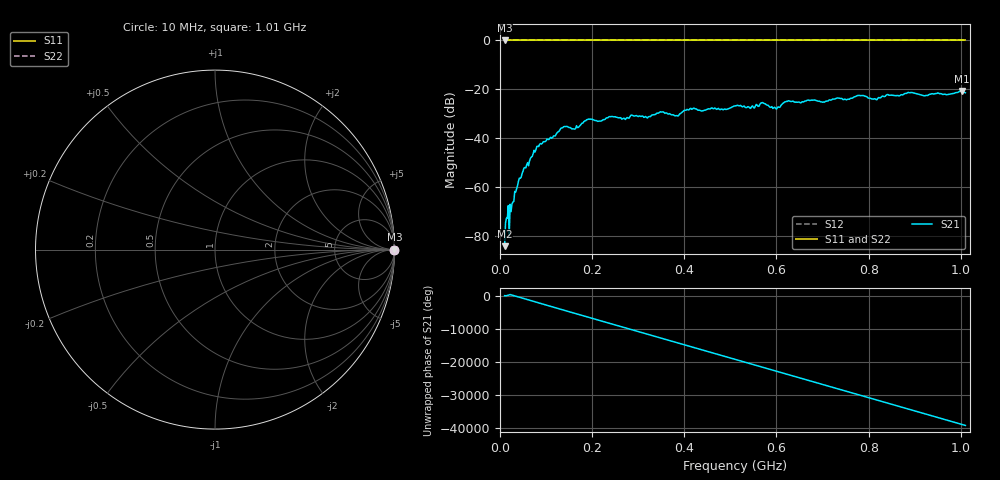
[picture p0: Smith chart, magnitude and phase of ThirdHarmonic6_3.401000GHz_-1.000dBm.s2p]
! 8/17/2025 10:51:53 AM
! C:\ANRITSUVNA\TEMP\TEMP.S2P
! CHANNEL.1
! TR.MEASUREMENT
! RAW.DATA
! RF.CORRECTION.OFF
! AVERAGING.OFF
! IF.BANDWIDTH: 5KHZ
! SWEEPTYPE:  FREQ.SWEEP(Linear)
! Reference Plane Port Info
! PORT:  PORT1  PORT2
! DISTANCE:  0  m  0  m
! TIME:  0  s  0  s
! PHASE.OFFSET:  0  deg.  0  deg.
! LOSS:  0  dB  0  dB
! REF.LOSS:  0  dB  0  dB
! REF.FREQ:  0  Hz  0  Hz
! Power Info
! POWER:  -20  dBm  -20  dBm
! EFF.POWER:  -20  dBm  -20  dBm
! SOURCE.ATTEN:  0  dB  0  dB
! TEST.ATTEN:  0  dB  0  dB
# GHZ S RI R 50.0
! FREQ.GHZ  S11RE  S11IM  S21RE  S21IM  S12RE  S12IM  S22RE  S22IM
!; PortSelection: Port_12
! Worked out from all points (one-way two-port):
!   501 points, 10 MHz to 1.01 GHz, reference 50 ohm
!   highest |S21| = -20.70 dB at 1.002 GHz (marker M1); lowest = -84.1 dB at 10 MHz (marker M2)
!   lowest |S11| = 0.0 dB at 10 MHz (marker M3)
!   |S11| at or under -10 dB: nowhere
!   |S22| runs from 0.0 to 0.0 dB; largest |S21 - S12| = 1.1
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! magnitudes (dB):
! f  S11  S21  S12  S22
! 10 MHz  0.0  -84.1  0.0  0.0
! 14 MHz  0.0  -72.6  0.0  0.0
! 24 MHz  0.0  -70.0  0.0  0.0
! 26 MHz  0.0  -66.8  0.0  0.0
! 44 MHz  0.0  -56.4  0.0  0.0
! 78 MHz  0.0  -44.6  0.0  0.0
! 136 MHz  0.0  -35.7  0.0  0.0
! 160 MHz  0.0  -36.2  0.0  0.0
! 178 MHz  0.0  -33.8  0.0  0.0
! 344 MHz  0.0  -29.7  0.0  0.0
! 384 MHz  0.0  -30.7  0.0  0.0
! 416 MHz  0.0  -28.1  0.0  0.0
! 510 MHz  0.0  -26.8  0.0  0.0
! 570 MHz  0.0  -25.4  0.0  0.0
! 596 MHz  0.0  -27.3  0.0  0.0
! 622 MHz  0.0  -24.9  0.0  0.0
! 678 MHz  0.0  -24.4  0.0  0.0
! 780 MHz  0.0  -22.5  0.0  0.0
! 814 MHz  0.0  -23.9  0.0  0.0
! 844 MHz  0.0  -22.4  0.0  0.0
! 1.002 GHz  0.0  -20.7  0.0  0.0
! 1.01 GHz  0.0  -21.4  0.0  0.0
